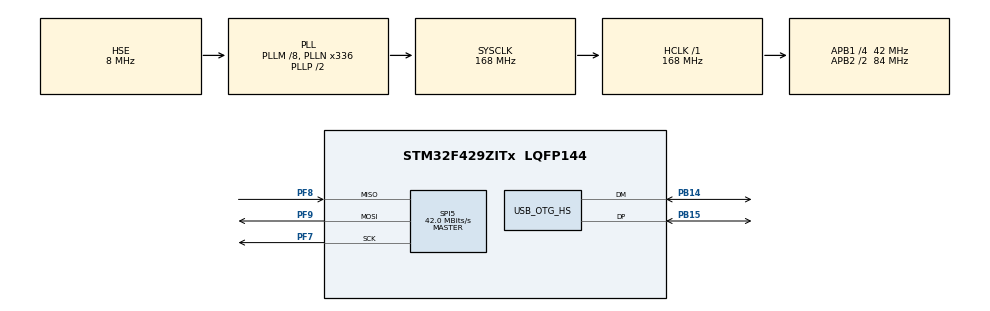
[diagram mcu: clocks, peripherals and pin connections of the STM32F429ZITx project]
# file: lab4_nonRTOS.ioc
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Mcu.Family=STM32F4
NVIC.OTG_HS_IRQn=true\:0\:0\:false\:false\:true\:true\:true
VP_USB_DEVICE_VS_USB_DEVICE_CDC_HS.Mode=CDC_HS
RCC.CortexFreq_Value=168000000
RCC.APB1CLKDivider=RCC_HCLK_DIV4
PB15.Signal=USB_OTG_HS_DP
USB_OTG_HS.VirtualMode-Device_Only_FS=Device_Only_FS
SPI5.Mode=SPI_MODE_MASTER
RCC.SYSCLKSource=RCC_SYSCLKSOURCE_PLLCLK
ProjectManager.StackSize=0x400
PF7.Mode=Full_Duplex_Master
ProjectManager.TargetToolchain=STM32CubeIDE
PF7.Signal=SPI5_SCK
PH0/OSC_IN.Mode=HSE-External-Oscillator
RCC.HCLKFreq_Value=168000000
RCC.APB2TimFreq_Value=168000000
PH1/OSC_OUT.Signal=RCC_OSC_OUT
RCC.LSE_VALUE=32768
USB_DEVICE.VirtualMode-CDC_HS=Cdc
RCC.AHBFreq_Value=168000000
PB14.Signal=USB_OTG_HS_DM
RCC.HSE_VALUE=8000000
board=custom
RCC.VCOOutputFreq_Value=336000000
PB15.Mode=Device_Only_FS
PH0/OSC_IN.Signal=RCC_OSC_IN
RCC.APB2Freq_Value=84000000
PF9.Mode=Full_Duplex_Master
PB14.Mode=Device_Only_FS
PF8.Mode=Full_Duplex_Master
PH1/OSC_OUT.Mode=HSE-External-Oscillator
Mcu.Name=STM32F429ZITx
RCC.48MHZClocksFreq_Value=48000000
RCC.SYSCLKFreq_VALUE=168000000
Mcu.Package=LQFP144
USB_DEVICE.CLASS_NAME_HS=CDC
ProjectManager.HeapSize=0x2000
PF8.Signal=SPI5_MISO
RCC.HSI_VALUE=16000000
PF9.Signal=SPI5_MOSI
RCC.PLLQ=7
SPI5.CalculateBaudRate=42.0 MBits/s
NVIC.PriorityGroup=NVIC_PRIORITYGROUP_4
USB_DEVICE.VirtualModeHS=Cdc_HS
RCC.APB2CLKDivider=RCC_HCLK_DIV2
RCC.PLLM=8
RCC.PLLN=336
RCC.APB1TimFreq_Value=84000000
RCC.APB1Freq_Value=42000000
SPI5.VirtualType=VM_MASTER
SPI5.Direction=SPI_DIRECTION_2LINES

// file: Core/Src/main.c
/* USER CODE BEGIN Header */
/**
  ******************************************************************************
  * @file           : main.c
  * @brief          : Main program body
  ******************************************************************************
  * @attention
  *
  * <h2><center>&copy; Copyright (c) 2022 STMicroelectronics.
  * All rights reserved.</center></h2>
  *
  * This software component is licensed by ST under BSD 3-Clause license,
  * the "License"; You may not use this file except in compliance with the
  * License. You may obtain a copy of the License at:
  *                        opensource.org/licenses/BSD-3-Clause
  *
  ******************************************************************************
  */
/* USER CODE END Header */
#include "main.h"
#include "usb_device.h"
#include "stm32f429i_discovery_lcd.h"
#include "stm32f429i_discovery_gyroscope.h"
#include "MyLib.h"
#include "math.h"
#include "usbd_cdc_if.h"
#include "string.h"

/* USER CODE BEGIN PD */

uint8_t cnt = 0,a_cnt = 0;
float pos[3],oldpos[3] = {0};
float angle[3];
uint8_t x_direction,y_direction;

/* USER CODE END PD */

SPI_HandleTypeDef hspi5;

/* USER CODE BEGIN PV */
char bufpos[5];
Point arrow_up[] = {{120,10},{100,25},{140,25}};
Point arrow_left[] = {{10,160},{25,140},{25,180}};
Point arrow_down[] = {{100,295},{120,310},{140,295}};
Point arrow_right[] = {{230,160},{215,180},{215,140}};
uint8_t NoiseFilter(float* oldvalue,float* newvalue,int offset){
	uint8_t res = 0;
	for(uint8_t i=0;i<3;i++){
		if(abs(newvalue[i] - oldvalue[i]) > offset) res = 1;
	}
	return res;
}

void ConcatenateStr(const char* firstStr, char* secondStr, char* res){
	uint8_t frlen = strlen(firstStr);
	uint8_t total_len = frlen + strlen(secondStr);
	for(uint8_t i=0;i<total_len;i++){
		if(i<frlen) res[i] = firstStr[i];
		else res[i] = secondStr[i-frlen];
	}
	res[total_len] = '\n';
	res[total_len+1] = '\0';
}

void ResetStr(char* str){
	uint8_t len = strlen(str);
	for(uint8_t i=0;i<len;i++){
		str[i] = '\0';
	}
}

/* USER CODE END PV */

void SystemClock_Config(void);
static void MX_GPIO_Init(void);
static void MX_SPI5_Init(void);

int main(void)
{
  /* USER CODE BEGIN 1 */
	if (BSP_GYRO_Init() != GYRO_OK){
		BSP_LCD_DisplayStringAtLine(2,(uint8_t*)"CAN'T FIND GYRO");
		while(1);
	}
  /* USER CODE END 1 */

  /* MCU Configuration--------------------------------------------------------*/

  /* Reset of all peripherals, Initializes the Flash interface and the Systick. */
  HAL_Init();

  /* Configure the system clock */
  SystemClock_Config();

  /* Initialize all configured peripherals */
  MX_GPIO_Init();
  MX_USB_DEVICE_Init();
  MX_SPI5_Init();
  /* USER CODE BEGIN 2 */
  	BSP_LCD_Init();//init LCD
  		//set the layer buffer address into SDRAM
  	BSP_LCD_LayerDefaultInit(1, SDRAM_DEVICE_ADDR);
  	BSP_LCD_SelectLayer(1);//select on which layer we write
  	BSP_LCD_DisplayOn();//turn on LCD
  	BSP_LCD_Clear(LCD_COLOR_WHITE);//clear the LCD on blue color
  	BSP_LCD_SetBackColor(LCD_COLOR_WHITE);//set text background color
  	BSP_LCD_SetTextColor(LCD_COLOR_BLUE);//set text color
  		//write text
  		//BSP_LCD_FillPolygon(Points, 3);
  	BSP_LCD_DisplayStringAtLine(2,"x= 0");
  	BSP_LCD_DisplayStringAtLine(3,"y= 0");
  	BSP_LCD_DisplayStringAtLine(4,"z= 0");
  /* USER CODE END 2 */

  /* Infinite loop */
  while (1)
  {
	  BSP_GYRO_GetXYZ(pos);
	 	  	for(uint8_t i = 0;i<3;i++){
	 	  		// tich phan van toc tren mien t: S = v.dt (S la goc nghieng, v la  van toc goc)
	 	  		// lenh dieu kien de chan cac gia tri gay nhieu, co the dan den go'c nga`y cang lon'
	 	  		if(abs(pos[i])>500) angle[i]+= pos[i]*0.005/1000;
	 	  		pos[i] /= 1000; 	// chuyen tu mdps qua dps
	 	  	}

	 	  	/* 	Cu moi 5*100 ms thuc hien kiem tra van toc goc 1 lan,
	 	  	/*	neu su thay doi > 1 dps thi cap nhat vao trong chuoi~ bufpos */
	 	  	if(cnt > 100){
	 	  		cnt = 0;
	 	  		if(NoiseFilter(oldpos, pos, 1)){
	 	  			char res[10];
	 	  			ResetStr(bufpos);
	 	  			ResetStr(res);
	 	  			ftoa(pos[0], bufpos, 1);
	 	  			//BSP_LCD_DisplayStringAtLine(2, bufpos);
	 	  			ConcatenateStr("x = ",bufpos, res);
	 	  			CDC_Transmit_HS(res,strlen(res));

	 	  			ResetStr(bufpos);
	 	  			ResetStr(res);
	 	  			ftoa(pos[1], bufpos, 1);
	 	  			//BSP_LCD_DisplayStringAtLine(3, bufpos);
	 	  			ConcatenateStr("y = ",bufpos, res);
	 	  			CDC_Transmit_HS(res,strlen(res));

	 	  			ResetStr(bufpos);
	 	  			ResetStr(res);
	 	  			ftoa(pos[2], bufpos, 1);
	 	  			//BSP_LCD_DisplayStringAtLine(4, bufpos);
	 	  			ConcatenateStr("z = ",bufpos, res);
	 	  			CDC_Transmit_HS(res,strlen(res));

	 	  			oldpos[0] = pos[0];
	 	  			oldpos[1] = pos[1];
	 	  			oldpos[2] = pos[2];
	 	  		}
	 	  	}

	 	  	/* moi~ (20*5 + tg delay giao tiep USB ) ms kiem tra su thay doi goc xoay 1 lan*/
	 	  	/* Neu sau (20*5 + tg delay giao tiep USB ), su thay doi goc > 3 do => gyro dang xoay, kiem tra trang thai xoay => dua ra ket qua */
	 	  	if(a_cnt > 20){
	 	  		a_cnt = 0;
	 	  			/* Su dung nhi phan {x_direction,y_direction} de to hop 4 trang thai*/
	 	  		if(angle[0] > 0) x_direction = 1;
	 	  		else x_direction = 0;
	 	  		if(angle[1] > 0) y_direction = 1;
	 	  		else y_direction = 0;
	 	  		switch(x_direction*2+y_direction){
	 	  			case 0:
	 	  				BSP_LCD_Clear(LCD_COLOR_WHITE);
	 	  				BSP_LCD_FillPolygon(arrow_up, 3);
	 	  				BSP_LCD_FillPolygon(arrow_left, 3);
	 	  				break;
	 	  			case 1:
	 	  				BSP_LCD_Clear(LCD_COLOR_WHITE);
	 	  				BSP_LCD_FillPolygon(arrow_up, 3);
	 	  				BSP_LCD_FillPolygon(arrow_right, 3);
	 	  				break;
	 	  			case 2:
	 	  				BSP_LCD_Clear(LCD_COLOR_WHITE);
	 	  				BSP_LCD_FillPolygon(arrow_down, 3);
	 	  				BSP_LCD_FillPolygon(arrow_left, 3);
	 	  				break;
	 	  			case 3:
	 	  				BSP_LCD_Clear(LCD_COLOR_WHITE);
	 	  				BSP_LCD_FillPolygon(arrow_down, 3);
	 	  				BSP_LCD_FillPolygon(arrow_right, 3);
	 	  				break;
	 	  			default:
	 	  				break;
	 	  		}
	 	  	}
	 	  	cnt++;
	 	  	a_cnt++;
	 HAL_Delay(5);
  }
}
void SystemClock_Config(void)
{
  RCC_OscInitTypeDef RCC_OscInitStruct = {0};
  RCC_ClkInitTypeDef RCC_ClkInitStruct = {0};

  /** Configure the main internal regulator output voltage
  */
  __HAL_RCC_PWR_CLK_ENABLE();
  __HAL_PWR_VOLTAGESCALING_CONFIG(PWR_REGULATOR_VOLTAGE_SCALE1);
  /** Initializes the RCC Oscillators according to the specified parameters
  * in the RCC_OscInitTypeDef structure.
  */
  RCC_OscInitStruct.OscillatorType = RCC_OSCILLATORTYPE_HSE;
  RCC_OscInitStruct.HSEState = RCC_HSE_ON;
  RCC_OscInitStruct.PLL.PLLState = RCC_PLL_ON;
  RCC_OscInitStruct.PLL.PLLSource = RCC_PLLSOURCE_HSE;
  RCC_OscInitStruct.PLL.PLLM = 8;
  RCC_OscInitStruct.PLL.PLLN = 336;
  RCC_OscInitStruct.PLL.PLLP = RCC_PLLP_DIV2;
  RCC_OscInitStruct.PLL.PLLQ = 7;
  if (HAL_RCC_OscConfig(&RCC_OscInitStruct) != HAL_OK)
  {
    Error_Handler();
  }
  /** Initializes the CPU, AHB and APB buses clocks
  */
  RCC_ClkInitStruct.ClockType = RCC_CLOCKTYPE_HCLK|RCC_CLOCKTYPE_SYSCLK
                              |RCC_CLOCKTYPE_PCLK1|RCC_CLOCKTYPE_PCLK2;
  RCC_ClkInitStruct.SYSCLKSource = RCC_SYSCLKSOURCE_PLLCLK;
  RCC_ClkInitStruct.AHBCLKDivider = RCC_SYSCLK_DIV1;
  RCC_ClkInitStruct.APB1CLKDivider = RCC_HCLK_DIV4;
  RCC_ClkInitStruct.APB2CLKDivider = RCC_HCLK_DIV2;

  if (HAL_RCC_ClockConfig(&RCC_ClkInitStruct, FLASH_LATENCY_5) != HAL_OK)
  {
    Error_Handler();
  }
}

static void MX_SPI5_Init(void)
{

  /* SPI5 parameter configuration*/
  hspi5.Instance = SPI5;
  hspi5.Init.Mode = SPI_MODE_MASTER;
  hspi5.Init.Direction = SPI_DIRECTION_2LINES;
  hspi5.Init.DataSize = SPI_DATASIZE_8BIT;
  hspi5.Init.CLKPolarity = SPI_POLARITY_LOW;
  hspi5.Init.CLKPhase = SPI_PHASE_1EDGE;
  hspi5.Init.NSS = SPI_NSS_SOFT;
  hspi5.Init.BaudRatePrescaler = SPI_BAUDRATEPRESCALER_2;
  hspi5.Init.FirstBit = SPI_FIRSTBIT_MSB;
  hspi5.Init.TIMode = SPI_TIMODE_DISABLE;
  hspi5.Init.CRCCalculation = SPI_CRCCALCULATION_DISABLE;
  hspi5.Init.CRCPolynomial = 10;
  if (HAL_SPI_Init(&hspi5) != HAL_OK)
  {
    Error_Handler();
  }

}

static void MX_GPIO_Init(void)
{

  /* GPIO Ports Clock Enable */
  __HAL_RCC_GPIOF_CLK_ENABLE();
  __HAL_RCC_GPIOH_CLK_ENABLE();
  __HAL_RCC_GPIOB_CLK_ENABLE();

}

void Error_Handler(void)
{
  __disable_irq();
  while (1)
  {
  }
}

/************************ (C) COPYRIGHT STMicroelectronics *****END OF FILE****/
